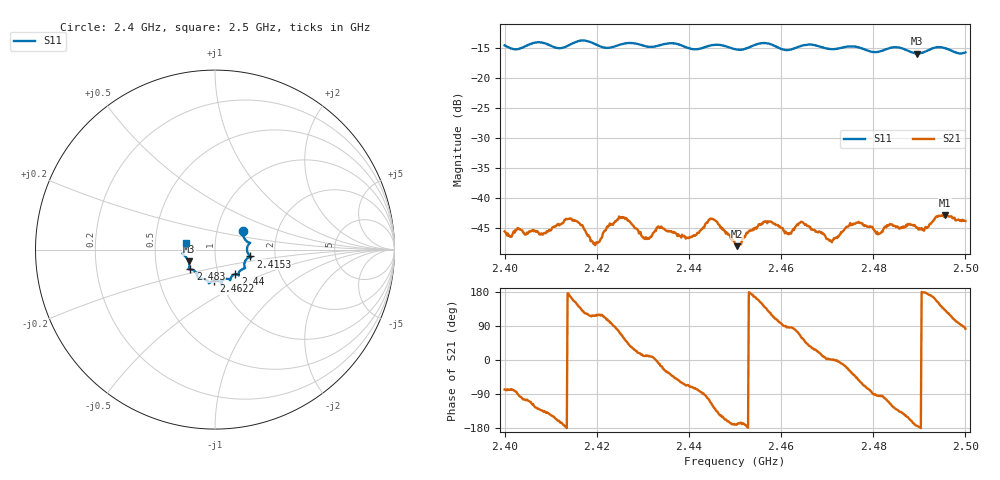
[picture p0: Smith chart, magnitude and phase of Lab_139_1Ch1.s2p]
# Hz S RI R 50
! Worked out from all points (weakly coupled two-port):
!   601 points, 2.4 GHz to 2.5 GHz, reference 50 ohm
!   highest |S21| = -42.85 dB at 2.4955 GHz (marker M1); lowest = -48.0 dB at 2.4505 GHz (marker M2)
!   lowest |S11| = -15.9 dB at 2.4895 GHz (marker M3), VSWR 1.38, Z = 36.9 - j5 ohm
!   |S11| at or under -10 dB: start of sweep to end of sweep
!   S12 and S22 are empty: the file has one direction only
!   S11 on the Smith chart (normalised r, x): 2.4 GHz: 1.33, +0.29; 2.4153 GHz: 1.48, -0.12; 2.44 GHz: 1.20, -0.34; 2.4622 GHz: 0.93, -0.33; 2.483 GHz: 0.74, -0.17; 2.5 GHz: 0.72, +0.06
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2.4e9  0.1552 0.1064  0.00111 -0.00518  0 0  0 0
2.415333e9  0.1963 -0.0384  -0.00581 0.00298  0 0  0 0
2.416667e9  0.202 -0.0425  -0.0041 0.00434  0 0  0 0
2.419667e9  0.1876 -0.0443  -0.00188 0.0036  0 0  0 0
2.425333e9  0.1655 -0.0977  0.00281 0.00636  0 0  0 0
2.4305e9  0.1476 -0.1122  0.00449 0.000872  0 0  0 0
2.433333e9  0.1311 -0.1334  0.00578 -0.000751  0 0  0 0
2.44e9  0.1139 -0.1367  0.00177 -0.00431  0 0  0 0
2.445e9  0.0847 -0.1688  -0.00315 -0.00597  0 0  0 0
2.45e9  0.0646 -0.1625  -0.00415 -0.000713  0 0  0 0
2.4505e9  0.0591 -0.1631  -0.00392 -0.000753  0 0  0 0
2.456667e9  0.039 -0.1926  -0.00472 0.00428  0 0  0 0
2.462167e9  -0.00734 -0.1738  0.000349 0.00506  0 0  0 0
2.466667e9  -0.0342 -0.1877  0.00473 0.0029  0 0  0 0
2.470833e9  -0.0565 -0.1657  0.00439 8.66e-05  0 0  0 0
2.476333e9  -0.0948 -0.1567  0.00426 -0.00459  0 0  0 0
2.481167e9  -0.1206 -0.1148  -0.000453 -0.005  0 0  0 0
2.483e9  -0.1374 -0.1097  -0.00169 -0.00571  0 0  0 0
2.483333e9  -0.1399 -0.1095  -0.00204 -0.00555  0 0  0 0
2.4895e9  -0.1466 -0.066  -0.00566 -0.000638  0 0  0 0
2.4955e9  -0.1781 -0.0173  -0.00486 0.00532  0 0  0 0
2.5e9  -0.1594 0.0392  0.000837 0.0064  0 0  0 0
